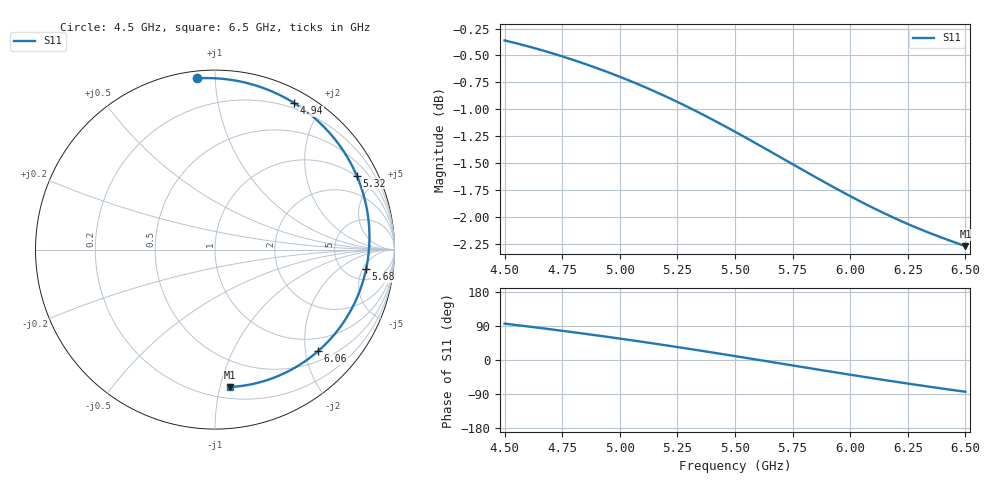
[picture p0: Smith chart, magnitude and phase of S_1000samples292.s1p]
! TOUCHSTONE file generated by CST MICROWAVE STUDIO
! Date and time: Thu Oct 27 16:03:17 2022
! Project name: L.cst
! Parameters = {Di=1.27; Epsilon_r=1.56; InnerDiameter=1.27; Length=2; Lf=10; Lg=60; OuterConductorThickness=0.2921; OuterDiameter=3.6; Wf=3; Wp=41.2; de=1.5; df=6.8; g=0.8; gx=2.64001; gy=4.586; h=2.34; hf=1.524; px=10.3705; py=8.60036; w=9.7; wx=7.73053; wy=4.01436}
! Header version: 2018
! Port assignment regex: !\s*Touchstone port\s*([0-9]+)\s*=\s*(CST MWS port|CST DS port)\s*([0-9]+|Zmin|Zmax)\s*\(\"(.*)\"\)(\s*mode\s*([0-9]+))?.*
! Touchstone port assignment:
! Touchstone port 1 = CST MWS port 1 ("")
# GHz S DB R 50
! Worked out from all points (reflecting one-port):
!   101 points, 4.5 GHz to 6.5 GHz, reference 50 ohm
!   lowest |S11| = -2.3 dB at 6.5 GHz (marker M1), VSWR 7.69, Z = 14.3 - j53.6 ohm
!   phase of S11 starts at 96 deg and turns -180 deg over the sweep
!   S11 on the Smith chart (normalised r, x): 4.5 GHz: 0.04, +0.90; 4.94 GHz: 0.14, +1.67; 5.32 GHz: 0.96, +3.85; 5.68 GHz: 7.53, -5.91; 6.06 GHz: 0.70, -2.26; 6.5 GHz: 0.29, -1.07
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4.5  -0.36 95.9
4.58  -0.40 90.1
4.64  -0.44 85.6
4.7  -0.48 81.0
4.76  -0.52 76.3
4.86  -0.59 68.2
4.94  -0.65 61.6
5  -0.70 56.5
5.06  -0.75 51.3
5.12  -0.80 46.0
5.2  -0.88 38.7
5.26  -0.94 33.2
5.32  -1.01 27.6
5.42  -1.12 18.0
5.5  -1.21 10.3
5.58  -1.30 2.4
5.68  -1.42 -7.4
5.76  -1.52 -15.3
5.82  -1.59 -21.3
5.88  -1.67 -27.2
5.94  -1.74 -33.0
6  -1.81 -38.8
6.06  -1.87 -44.6
6.16  -1.98 -53.9
6.26  -2.07 -63.1
6.32  -2.13 -68.4
6.38  -2.18 -73.6
6.5  -2.27 -83.8
